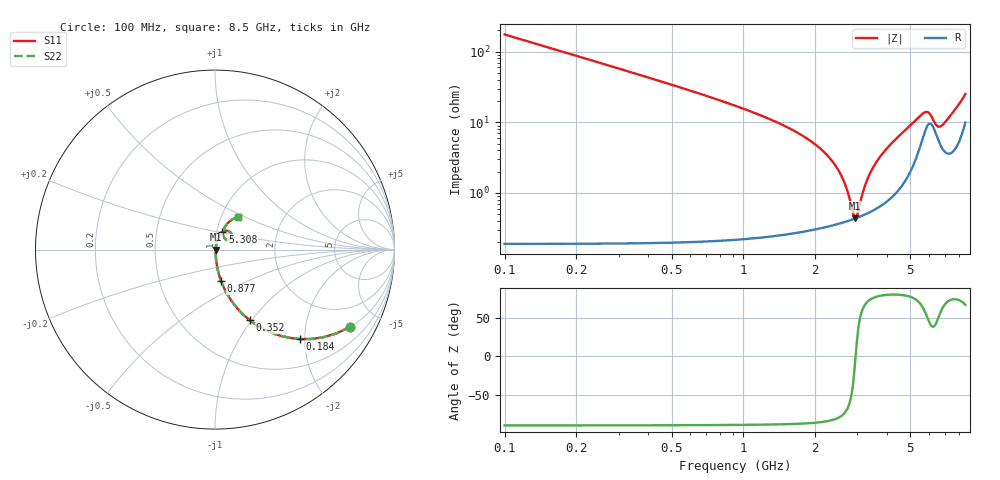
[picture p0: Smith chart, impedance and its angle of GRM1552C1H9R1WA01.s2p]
!Murata Part Number: GRM1552C1H9R1WA01
!These Parameters are Measured in Series Mode Connection
!Data Generated on Mar 30, 2021
!  o--ll--o
!Port1  Port2
!  o------o
!Operation Temp=25[degC], DC Bias Voltage=0[V]
!Freq. Start=100[MHz] Stop=9[GHz] 401[Steps]
# Hz S RI R 50
!Freq.(Hz) S11(Real) S11(Imag) S21(Real) S21(Imag) S12(Real) S12(Imag) S22(Real) S22(Imag)
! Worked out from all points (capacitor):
!   401 points, 100 MHz to 8.5 GHz, reference 50 ohm
!   read as one part in series: C = 9.1 pF near 142 MHz
!   lowest |Z| = 439 mohm at 2.935 GHz (marker M1)
!   series resonance near 2.949 GHz, so ESL is about 320 pH
!   S11 on the Smith chart (normalised r, x): 100 MHz: 1.00, -3.49; 184 MHz: 1.00, -1.89; 352 MHz: 1.00, -0.98; 877 MHz: 1.00, -0.37; 5.308 GHz: 1.06, +0.21; 8.5 GHz: 1.20, +0.46
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1e8  0.753 -0.4307  0.247 0.4307  0.247 0.4307  0.753 -0.4307
1.84e8  0.4729 -0.4983  0.5271 0.4983  0.5271 0.4983  0.4729 -0.4983
3.52e8  0.1946 -0.394  0.8054 0.394  0.8054 0.394  0.1946 -0.394
5.41e8  0.0907 -0.284  0.9093 0.284  0.9093 0.284  0.0907 -0.284
8.77e8  0.0342 -0.176  0.9658 0.176  0.9658 0.176  0.0342 -0.176
1.507e9  0.01 -0.0859  0.99 0.0859  0.99 0.0859  0.01 -0.0859
2.074e9  0.00502 -0.0435  0.995 0.0435  0.995 0.0435  0.00502 -0.0435
2.431e9  0.00412 -0.0238  0.9959 0.0238  0.9959 0.0238  0.00412 -0.0238
2.662e9  0.00404 -0.0127  0.996 0.0127  0.996 0.0127  0.00404 -0.0127
2.914e9  0.0043 -0.00149  0.9957 0.00149  0.9957 0.00149  0.0043 -0.00149
2.935e9  0.00434 -0.000589  0.9957 0.000589  0.9957 0.000589  0.00434 -0.000589
2.998e9  0.00446 0.00208  0.9955 -0.00208  0.9955 -0.00208  0.00446 0.00208
3.229e9  0.00507 0.0116  0.9949 -0.0116  0.9949 -0.0116  0.00507 0.0116
3.46e9  0.00596 0.0208  0.994 -0.0208  0.994 -0.0208  0.00596 0.0208
3.817e9  0.00796 0.0347  0.992 -0.0347  0.992 -0.0347  0.00796 0.0347
4.3e9  0.0124 0.0539  0.9876 -0.0539  0.9876 -0.0539  0.0124 0.0539
5.308e9  0.0413 0.098  0.9587 -0.098  0.9587 -0.098  0.0413 0.098
5.707e9  0.0753 0.103  0.9247 -0.103  0.9247 -0.103  0.0753 0.103
5.98e9  0.094 0.08  0.906 -0.08  0.906 -0.08  0.094 0.08
6.526e9  0.058 0.0584  0.942 -0.0584  0.942 -0.0584  0.058 0.0584
7.114e9  0.0443 0.0937  0.9557 -0.0937  0.9557 -0.0937  0.0443 0.0937
8.5e9  0.1288 0.1827  0.8712 -0.1827  0.8712 -0.1827  0.1288 0.1827
